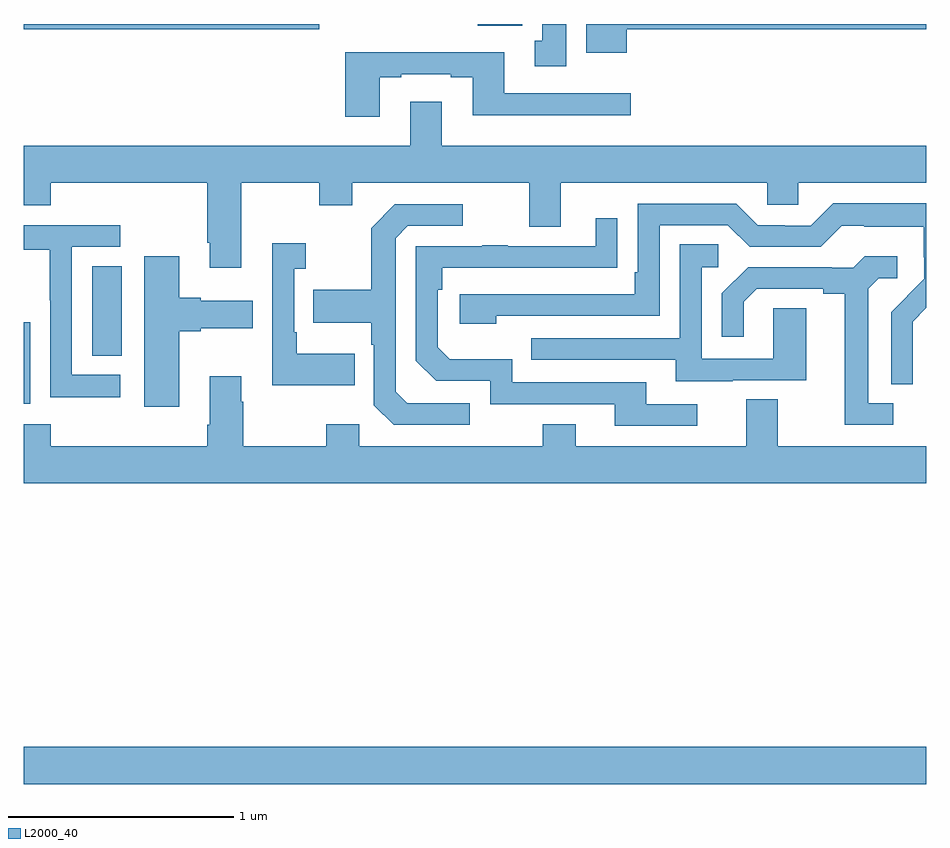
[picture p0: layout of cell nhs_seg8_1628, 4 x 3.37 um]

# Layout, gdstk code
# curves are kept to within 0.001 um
import gdstk
lib = gdstk.Library(unit=1e-6, precision=1e-09)
def R(c, l, rs):  # rectangles x0, y0, x1, y1
    for r in rs: c.add(gdstk.rectangle(r[:2], r[2:], *l))
def P(c, l, *ps):  # polygons
    for p in ps: c.add(gdstk.Polygon(p, *l))
L2000_40 = (2000, 40)

nhs_seg8_1628 = lib.new_cell('nhs_seg8_1628')
R(nhs_seg8_1628, L2000_40, [(215,1084.532,219,1084.696), (215,1086.218,215.029,1086.579), (215.303,1086.43,215.434,1086.827), (215,1087.876,216.309,1087.9), (217.013,1087.892,217.21,1087.9)])
P(nhs_seg8_1628, L2000_40, [(217.405,1087.9),(217.298,1087.9),(217.298,1087.826),(217.265,1087.826),(217.265,1087.713),(217.405,1087.713)],
  [(217.672,1087.876),(219,1087.876),(219,1087.9),(217.493,1087.9),(217.493,1087.772),(217.672,1087.772)],
  [(216.577,1087.665),(216.673,1087.665),(216.673,1087.677),(216.893,1087.677),(216.893,1087.665),(216.989,1087.665),(216.989,1087.496),(217.69,1087.496),(217.69,1087.593),(217.129,1087.593),(217.129,1087.774),(216.425,1087.774),(216.425,1087.488),(216.577,1087.488)],
  [(215.965,1087.196),(216.31,1087.196),(216.31,1087.097),(216.457,1087.097),(216.457,1087.196),(217.241,1087.196),(217.241,1087.002),(217.381,1087.002),(217.381,1087.196),(218.295,1087.196),(218.295,1087.098),(218.433,1087.098),(218.433,1087.196),(219,1087.196),(219,1087.36),(216.853,1087.36),(216.853,1087.555),(216.713,1087.555),(216.713,1087.36),(215,1087.36),(215,1087.097),(215.12,1087.097),(215.12,1087.196),(215.813,1087.196),(215.813,1086.931),(215.825,1086.931),(215.825,1086.819),(215.965,1086.819)],
  [(218.94,1086.458),(218.939,1086.581),(219,1086.642),(219,1087.105),(218.587,1087.105),(218.487,1087.005),(218.372,1087.005),(218.372,1087.008),(218.253,1087.008),(218.157,1087.104),(217.722,1087.104),(217.722,1086.799),(217.709,1086.799),(217.709,1086.702),(216.933,1086.702),(216.933,1086.572),(217.094,1086.572),(217.094,1086.606),(217.818,1086.606),(217.818,1087.008),(218.121,1087.008),(218.217,1086.912),(218.532,1086.912),(218.625,1087.005),(218.725,1087.005),(218.725,1087.001),(218.988,1087.001),(218.988,1086.867),(218.99,1086.867),(218.99,1086.77),(218.844,1086.622),(218.844,1086.304),(218.94,1086.304)],
  [(216.976,1086.219),(216.699,1086.219),(216.648,1086.27),(216.648,1086.951),(216.702,1087.005),(216.946,1087.005),(216.946,1087.101),(216.645,1087.101),(216.54,1086.995),(216.54,1086.723),(216.283,1086.723),(216.283,1086.575),(216.54,1086.575),(216.54,1086.479),(216.552,1086.479),(216.552,1086.21),(216.639,1086.123),(216.976,1086.123)],
  [(217.984,1086.216),(217.759,1086.216),(217.759,1086.312),(217.164,1086.312),(217.164,1086.415),(216.887,1086.415),(216.834,1086.468),(216.834,1086.722),(216.854,1086.722),(216.854,1086.819),(217.631,1086.82),(217.631,1087.039),(217.535,1087.039),(217.535,1086.915),(217.145,1086.915),(217.145,1086.92),(217.033,1086.92),(217.033,1086.915),(216.738,1086.915),(216.738,1086.408),(216.828,1086.318),(217.068,1086.318),(217.068,1086.216),(217.619,1086.216),(217.619,1086.12),(217.984,1086.12)],
  [(215.428,1086.345),(215.214,1086.345),(215.214,1086.912),(215.428,1086.912),(215.428,1087.008),(215,1087.008),(215,1086.9),(215.116,1086.9),(215.116,1086.676),(215.118,1086.676),(215.118,1086.247),(215.428,1086.247)],
  [(216.467,1086.439),(216.211,1086.439),(216.211,1086.535),(216.198,1086.535),(216.198,1086.815),(216.25,1086.815),(216.25,1086.928),(216.102,1086.928),(216.102,1086.299),(216.467,1086.299)],
  [(218.143,1086.321),(218.467,1086.321),(218.467,1086.641),(218.322,1086.641),(218.322,1086.417),(218.004,1086.417),(218.004,1086.822),(218.077,1086.822),(218.077,1086.923),(217.908,1086.923),(217.908,1086.507),(217.249,1086.507),(217.249,1086.411),(217.889,1086.411),(217.889,1086.317),(218.143,1086.317)],
  [(215.689,1086.539),(215.785,1086.539),(215.785,1086.551),(216.016,1086.551),(216.016,1086.673),(215.785,1086.673),(215.785,1086.686),(215.689,1086.686),(215.689,1086.871),(215.534,1086.871),(215.534,1086.204),(215.689,1086.204)],
  [(218.854,1086.219),(218.743,1086.219),(218.743,1086.727),(218.79,1086.774),(218.872,1086.774),(218.872,1086.871),(218.728,1086.871),(218.676,1086.819),(218.582,1086.819),(218.582,1086.822),(218.21,1086.822),(218.094,1086.706),(218.094,1086.513),(218.191,1086.513),(218.191,1086.669),(218.248,1086.726),(218.543,1086.726),(218.543,1086.704),(218.639,1086.704),(218.639,1086.123),(218.854,1086.123)],
  [(219,1086.028),(218.341,1086.028),(218.341,1086.236),(218.201,1086.236),(218.201,1086.028),(217.447,1086.028),(217.447,1086.127),(217.3,1086.127),(217.3,1086.028),(216.486,1086.028),(216.486,1086.127),(216.34,1086.127),(216.34,1086.028),(215.973,1086.028),(215.973,1086.227),(215.965,1086.227),(215.965,1086.34),(215.825,1086.34),(215.825,1086.124),(215.813,1086.124),(215.813,1086.028),(215.12,1086.028),(215.12,1086.127),(215,1086.127),(215,1085.864),(219,1085.864)])

lib.write_gds('nhs_seg8_1628.gds')
